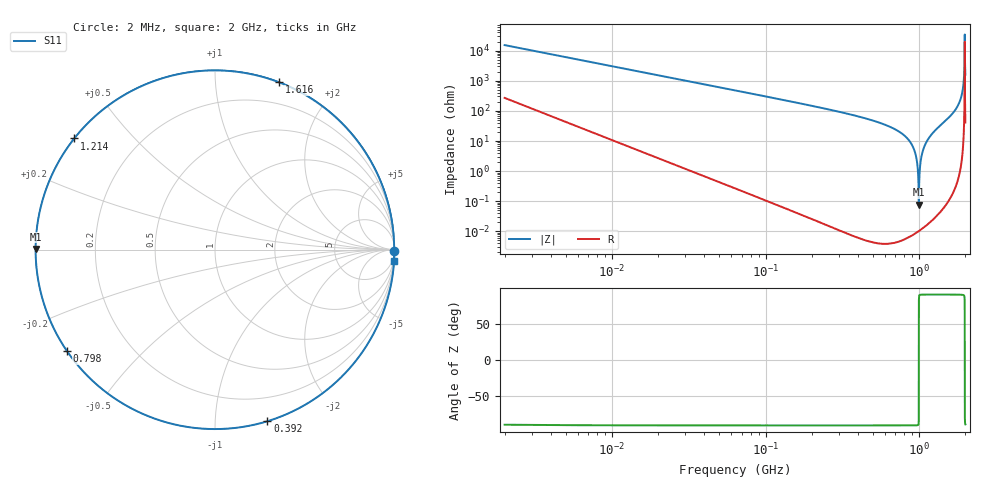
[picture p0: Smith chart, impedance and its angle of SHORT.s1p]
! TOUCHSTONE file generated by CST MICROWAVE STUDIO
! Date and time: Tue Jul 28 22:02:06 2026
! Project name: Sonda-Coaxial_21mm_DisifixB_v2.cst
! Parameters = {h_recipiente=5; l_conector=50; r_arandela=35; r_ext=10.5; r_int=3; r_recipiente=100; z_recipiente=-10}
! Header version: 2018
! Port assignment regex: !\s*Touchstone port\s*([0-9]+)\s*=\s*(CST MWS port|CST DS port)\s*([0-9]+|Zmin|Zmax)\s*\(\"(.*)\"\)(\s*mode\s*([0-9]+))?.*
! Touchstone port assignment:
! Touchstone port 1 = CST MWS port 1 ("")
# GHz S RI R 50
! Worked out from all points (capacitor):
!   1000 points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, 2 MHz to 2 GHz, reference 50 ohm
!   read as one part to ground: C = 5.23 pF near 12 MHz
!   lowest |Z| = 76.6 mohm at 996 MHz (marker M1)
!   series resonance near 995 MHz, so ESL is about 4.9 nH
!   S11 on the Smith chart (normalised r, x): 2 MHz: open; 392 MHz: 0.00, -1.35; 798 MHz: 0.00, -0.31; 1.214 GHz: 0.00, +0.35; 1.616 GHz: 0.00, +1.45; 2 GHz: 1, -32
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0.002  0.9999 -0.00657
0.062  0.9792 -0.2021
0.122  0.9209 -0.3896
0.186  0.8199 -0.5723
0.252  0.6792 -0.7338
0.324  0.4917 -0.8707
0.392  0.2916 -0.9564
0.502  -0.0531 -0.9985
0.562  -0.2392 -0.9709
0.622  -0.4156 -0.9094
0.752  -0.7377 -0.6749
0.798  -0.8252 -0.5646
0.898  -0.9565 -0.2907
0.996  -0.9996 0.00304
1.002  -0.9994 0.0213
1.106  -0.9429 0.3314
1.214  -0.7839 0.6196
1.252  -0.7061 0.7068
1.382  -0.3709 0.9273
1.442  -0.1902 0.9803
1.502  -0.0011 0.9984
1.616  0.3565 0.9323
1.682  0.5469 0.8349
1.752  0.7225 0.6885
1.818  0.8542 0.516
1.88  0.9417 0.3306
1.94  0.9887 0.1371
2  0.9965 -0.0623
